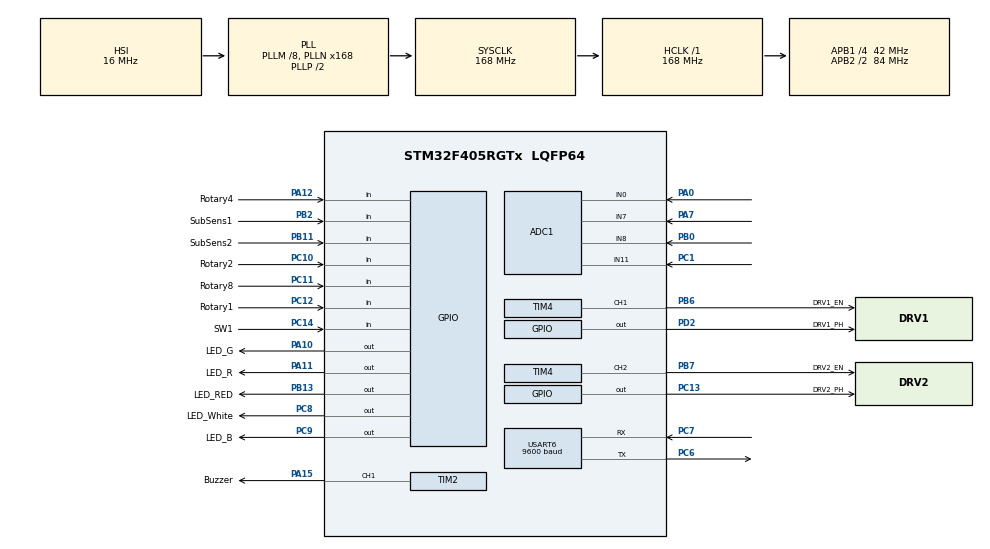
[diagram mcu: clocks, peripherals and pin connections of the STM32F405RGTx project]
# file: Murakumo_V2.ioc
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ADC1.Channel-17\#ChannelRegularConversion=ADC_CHANNEL_0
ADC1.Channel-18\#ChannelRegularConversion=ADC_CHANNEL_7
ADC1.Channel-19\#ChannelRegularConversion=ADC_CHANNEL_8
ADC1.Channel-20\#ChannelRegularConversion=ADC_CHANNEL_11
ADC1.ContinuousConvMode=ENABLE
ADC1.DMAContinuousRequests=ENABLE
ADC1.EnableAnalogWatchDog=false
ADC1.InjNumberOfConversion=0
ADC1.NbrOfConversion=4
ADC1.NbrOfConversionFlag=1
ADC1.Rank-17\#ChannelRegularConversion=1
ADC1.Rank-18\#ChannelRegularConversion=2
ADC1.Rank-19\#ChannelRegularConversion=3
ADC1.Rank-20\#ChannelRegularConversion=4
ADC1.SamplingTime-17\#ChannelRegularConversion=ADC_SAMPLETIME_3CYCLES
ADC1.SamplingTime-18\#ChannelRegularConversion=ADC_SAMPLETIME_3CYCLES
ADC1.SamplingTime-19\#ChannelRegularConversion=ADC_SAMPLETIME_3CYCLES
ADC1.SamplingTime-20\#ChannelRegularConversion=ADC_SAMPLETIME_3CYCLES
ADC1.master=1
Dma.ADC1.0.Direction=DMA_PERIPH_TO_MEMORY
Dma.ADC1.0.FIFOMode=DMA_FIFOMODE_DISABLE
Dma.ADC1.0.Instance=DMA2_Stream0
Dma.ADC1.0.MemDataAlignment=DMA_MDATAALIGN_HALFWORD
Dma.ADC1.0.MemInc=DMA_MINC_ENABLE
Dma.ADC1.0.Mode=DMA_CIRCULAR
Dma.ADC1.0.PeriphDataAlignment=DMA_PDATAALIGN_HALFWORD
Dma.ADC1.0.PeriphInc=DMA_PINC_DISABLE
Dma.ADC1.0.Priority=DMA_PRIORITY_LOW
Dma.Request0=ADC1
Mcu.Family=STM32F4
Mcu.Name=STM32F405RGTx
Mcu.Package=LQFP64
NVIC.DMA2_Stream0_IRQn=true\:0\:0\:false\:false\:true\:false\:true
NVIC.PriorityGroup=NVIC_PRIORITYGROUP_4
NVIC.TIM6_DAC_IRQn=true\:0\:0\:false\:false\:true\:true\:true
NVIC.TIM7_IRQn=true\:0\:0\:false\:false\:true\:true\:true
PA0-WKUP.Signal=ADCx_IN0
PA10.GPIO_Label=LED_G
PA10.Signal=GPIO_Output
PA11.GPIO_Label=LED_R
PA11.Signal=GPIO_Output
PA12.GPIO_Label=Rotary4
PA12.Signal=GPIO_Input
PA13.Mode=Trace_Asynchronous_SW
PA13.Signal=SYS_JTMS-SWDIO
PA14.Mode=Trace_Asynchronous_SW
PA14.Signal=SYS_JTCK-SWCLK
PA15.GPIO_Label=Buzzer
PA15.Signal=S_TIM2_CH1_ETR
PA7.Signal=ADCx_IN7
PB0.Signal=ADCx_IN8
PB11.GPIO_Label=SubSens2
PB11.Signal=GPIO_Input
PB13.GPIO_Label=LED_RED
PB13.Signal=GPIO_Output
PB2.GPIO_Label=SubSens1
PB2.Signal=GPIO_Input
PB3.Mode=Trace_Asynchronous_SW
PB3.Signal=SYS_JTDO-SWO
PB6.GPIO_Label=DRV1_EN
PB6.Signal=S_TIM4_CH1
PB7.GPIO_Label=DRV2_EN
PB7.Signal=S_TIM4_CH2
PC1.Signal=ADCx_IN11
PC10.GPIO_Label=Rotary2
PC10.Signal=GPIO_Input
PC11.GPIO_Label=Rotary8
PC11.Signal=GPIO_Input
PC12.GPIO_Label=Rotary1
PC12.Signal=GPIO_Input
PC13-ANTI_TAMP.GPIO_Label=DRV2_PH
PC13-ANTI_TAMP.Signal=GPIO_Output
PC14-OSC32_IN.GPIO_Label=SW1
PC14-OSC32_IN.Signal=GPIO_Input
PC6.Mode=Asynchronous
PC6.Signal=USART6_TX
PC7.Mode=Asynchronous
PC7.Signal=USART6_RX
PC8.GPIO_Label=LED_White
PC8.Signal=GPIO_Output
PC9.GPIO_Label=LED_B
PC9.Signal=GPIO_Output
PD2.GPIO_Label=DRV1_PH
PD2.Signal=GPIO_Output
ProjectManager.HeapSize=0x200
ProjectManager.StackSize=0x400
ProjectManager.TargetToolchain=STM32CubeIDE
RCC.48MHZClocksFreq_Value=84000000
RCC.AHBFreq_Value=168000000
RCC.APB1CLKDivider=RCC_HCLK_DIV4
RCC.APB1Freq_Value=42000000
RCC.APB1TimFreq_Value=84000000
RCC.APB2CLKDivider=RCC_HCLK_DIV2
RCC.APB2Freq_Value=84000000
RCC.APB2TimFreq_Value=168000000
RCC.CortexFreq_Value=168000000
RCC.HCLKFreq_Value=168000000
RCC.HSE_VALUE=16000000
RCC.HSI_VALUE=16000000
RCC.LSE_VALUE=32768
RCC.PLLM=8
RCC.PLLN=168
RCC.SYSCLKFreq_VALUE=168000000
RCC.SYSCLKSource=RCC_SYSCLKSOURCE_PLLCLK
RCC.VCOOutputFreq_Value=336000000
SH.ADCx_IN0.0=ADC1_IN0,IN0
SH.ADCx_IN11.0=ADC1_IN11,IN11
SH.ADCx_IN7.0=ADC1_IN7,IN7
SH.ADCx_IN8.0=ADC1_IN8,IN8
SH.S_TIM2_CH1_ETR.0=TIM2_CH1,PWM Generation1 CH1
SH.S_TIM4_CH1.0=TIM4_CH1,PWM Generation1 CH1
SH.S_TIM4_CH2.0=TIM4_CH2,PWM Generation2 CH2
TIM2.Channel-PWM\ Generation1\ CH1=TIM_CHANNEL_1
TIM2.Period=1679
TIM2.Prescaler=1
TIM4.Channel-PWM\ Generation1\ CH1=TIM_CHANNEL_1
TIM4.Channel-PWM\ Generation2\ CH2=TIM_CHANNEL_2
TIM4.Period=839
TIM4.Prescaler=1
TIM6.Period=8399
TIM6.Prescaler=1
TIM7.Period=8399
TIM7.Prescaler=1
USART6.BaudRate=9600
USART6.VirtualMode=VM_ASYNC
VP_TIM6_VS_ClockSourceINT.Mode=Enable_Timer
VP_TIM7_VS_ClockSourceINT.Mode=Enable_Timer
board=custom

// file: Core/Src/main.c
/* USER CODE BEGIN Header */
/**
  ******************************************************************************
  * @file           : main.c
  * @brief          : Main program body
  ******************************************************************************
  * @attention
  *
  * Copyright (c) 2022 STMicroelectronics.
  * All rights reserved.
  *
  * This software is licensed under terms that can be found in the LICENSE file
  * in the root directory of this software component.
  * If no LICENSE file comes with this software, it is provided AS-IS.
  *
  ******************************************************************************
  */
/* USER CODE END Header */
#include "main.h"

/* USER CODE BEGIN Includes */
#include "stdio.h"

/* USER CODE END Includes */

/* USER CODE BEGIN PD */

/* Debug Define */
#ifdef __GNUC__
#define PUTCHAR_PROTOTYPE int __io_putchar(int ch)
#else
#define PUTCHAR_PROTOTYPE int fputc(int ch, FILE *f)
#endif

/* USER CODE END PD */

/* USER CODE BEGIN PM */
#define ADC_CONVERTED_DATA_BUFFER_SIZE 1	// ADC Channel Count
/* USER CODE END PM */

ADC_HandleTypeDef hadc1;
DMA_HandleTypeDef hdma_adc1;

TIM_HandleTypeDef htim2;
TIM_HandleTypeDef htim4;
TIM_HandleTypeDef htim6;
TIM_HandleTypeDef htim7;

UART_HandleTypeDef huart6;

/* USER CODE BEGIN PV */
uint16_t analog[ADC_CONVERTED_DATA_BUFFER_SIZE] = {0};	// Analog Data

/* USER CODE END PV */

void SystemClock_Config(void);
static void MX_GPIO_Init(void);
static void MX_TIM4_Init(void);
static void MX_TIM2_Init(void);
static void MX_ADC1_Init(void);
static void MX_USART6_UART_Init(void);
static void MX_TIM6_Init(void);
static void MX_DMA_Init(void);
static void MX_TIM7_Init(void);
/* USER CODE BEGIN PFP */
PUTCHAR_PROTOTYPE
{
	HAL_UART_Transmit(&huart6, (uint8_t*) &ch, 1, 0xFFFF);
	return ch;
}

/* USER CODE END PFP */

int main(void)
{

  /* MCU Configuration--------------------------------------------------------*/

  /* Reset of all peripherals, Initializes the Flash interface and the Systick. */
  HAL_Init();

  /* Configure the system clock */
  SystemClock_Config();

  /* Initialize all configured peripherals */
  MX_GPIO_Init();
  MX_TIM4_Init();
  MX_TIM2_Init();
  MX_ADC1_Init();
  MX_USART6_UART_Init();
  MX_TIM6_Init();
  MX_DMA_Init();
  MX_TIM7_Init();
  /* USER CODE BEGIN 2 */
	printf("\r\n\r\n\r\nStarting Program...\r\n\r\n");

	printf("Push Switch ...\r\n");
	while(HAL_GPIO_ReadPin(GPIOC, GPIO_PIN_14))
	{
	  HAL_Delay(100);
	}

  printf("Starting Analog Read\r\n");
//  if(HAL_ADC_Init(&hadc1) != HAL_OK) { Error_Handler(); }
//  if(HAL_ADCE1_Calibration_Start(&hadc1, ADC_SINGLE_ENDED) != HAL_OK) { Error_Handler(); }
//  if(HAL_ADC_ConfigChannel(&hadc1, &sConfig) != HAL_OK) { Error_Handler(); }

	printf("Starting Analog DMA\r\n");
	HAL_Delay(100);
	if(HAL_ADC_Start_DMA(&hadc1, (uint32_t *) analog, 1) != HAL_OK) { Error_Handler(); }
	HAL_Delay(100);
  /* USER CODE END 2 */

  /* Infinite loop */
  /* USER CODE BEGIN WHILE */
  while (1)
  {
	  for(int channel = 0; channel < ADC_CONVERTED_DATA_BUFFER_SIZE; channel++)
	  {
		  printf("ADC CH%2d Value is %d\r\n", channel, analog[channel]);
	  }

	  HAL_Delay(500);
    /* USER CODE END WHILE */

  }
}

void SystemClock_Config(void)
{
  RCC_OscInitTypeDef RCC_OscInitStruct = {0};
  RCC_ClkInitTypeDef RCC_ClkInitStruct = {0};

  /** Configure the main internal regulator output voltage
  */
  __HAL_RCC_PWR_CLK_ENABLE();
  __HAL_PWR_VOLTAGESCALING_CONFIG(PWR_REGULATOR_VOLTAGE_SCALE1);
  /** Initializes the RCC Oscillators according to the specified parameters
  * in the RCC_OscInitTypeDef structure.
  */
  RCC_OscInitStruct.OscillatorType = RCC_OSCILLATORTYPE_HSI;
  RCC_OscInitStruct.HSIState = RCC_HSI_ON;
  RCC_OscInitStruct.HSICalibrationValue = RCC_HSICALIBRATION_DEFAULT;
  RCC_OscInitStruct.PLL.PLLState = RCC_PLL_ON;
  RCC_OscInitStruct.PLL.PLLSource = RCC_PLLSOURCE_HSI;
  RCC_OscInitStruct.PLL.PLLM = 8;
  RCC_OscInitStruct.PLL.PLLN = 168;
  RCC_OscInitStruct.PLL.PLLP = RCC_PLLP_DIV2;
  RCC_OscInitStruct.PLL.PLLQ = 4;
  if (HAL_RCC_OscConfig(&RCC_OscInitStruct) != HAL_OK)
  {
    Error_Handler();
  }
  /** Initializes the CPU, AHB and APB buses clocks
  */
  RCC_ClkInitStruct.ClockType = RCC_CLOCKTYPE_HCLK|RCC_CLOCKTYPE_SYSCLK
                              |RCC_CLOCKTYPE_PCLK1|RCC_CLOCKTYPE_PCLK2;
  RCC_ClkInitStruct.SYSCLKSource = RCC_SYSCLKSOURCE_PLLCLK;
  RCC_ClkInitStruct.AHBCLKDivider = RCC_SYSCLK_DIV1;
  RCC_ClkInitStruct.APB1CLKDivider = RCC_HCLK_DIV4;
  RCC_ClkInitStruct.APB2CLKDivider = RCC_HCLK_DIV2;

  if (HAL_RCC_ClockConfig(&RCC_ClkInitStruct, FLASH_LATENCY_5) != HAL_OK)
  {
    Error_Handler();
  }
}

static void MX_ADC1_Init(void)
{

  ADC_ChannelConfTypeDef sConfig = {0};

  /** Configure the global features of the ADC (Clock, Resolution, Data Alignment and number of conversion)
  */
  hadc1.Instance = ADC1;
  hadc1.Init.ClockPrescaler = ADC_CLOCK_SYNC_PCLK_DIV4;
  hadc1.Init.Resolution = ADC_RESOLUTION_12B;
  hadc1.Init.ScanConvMode = ENABLE;
  hadc1.Init.ContinuousConvMode = ENABLE;
  hadc1.Init.DiscontinuousConvMode = DISABLE;
  hadc1.Init.ExternalTrigConvEdge = ADC_EXTERNALTRIGCONVEDGE_NONE;
  hadc1.Init.ExternalTrigConv = ADC_SOFTWARE_START;
  hadc1.Init.DataAlign = ADC_DATAALIGN_RIGHT;
  hadc1.Init.NbrOfConversion = 1;
  hadc1.Init.DMAContinuousRequests = ENABLE;
  hadc1.Init.EOCSelection = ADC_EOC_SINGLE_CONV;
  if (HAL_ADC_Init(&hadc1) != HAL_OK)
  {
    Error_Handler();
  }
  /** Configure for the selected ADC regular channel its corresponding rank in the sequencer and its sample time.
  */
  sConfig.Channel = ADC_CHANNEL_0;
  sConfig.Rank = 1;
  sConfig.SamplingTime = ADC_SAMPLETIME_480CYCLES;
  if (HAL_ADC_ConfigChannel(&hadc1, &sConfig) != HAL_OK)
  {
    Error_Handler();
  }

}

static void MX_TIM2_Init(void)
{

  TIM_MasterConfigTypeDef sMasterConfig = {0};
  TIM_OC_InitTypeDef sConfigOC = {0};

  htim2.Instance = TIM2;
  htim2.Init.Prescaler = 1;
  htim2.Init.CounterMode = TIM_COUNTERMODE_UP;
  htim2.Init.Period = 1679;
  htim2.Init.ClockDivision = TIM_CLOCKDIVISION_DIV1;
  htim2.Init.AutoReloadPreload = TIM_AUTORELOAD_PRELOAD_DISABLE;
  if (HAL_TIM_PWM_Init(&htim2) != HAL_OK)
  {
    Error_Handler();
  }
  sMasterConfig.MasterOutputTrigger = TIM_TRGO_RESET;
  sMasterConfig.MasterSlaveMode = TIM_MASTERSLAVEMODE_DISABLE;
  if (HAL_TIMEx_MasterConfigSynchronization(&htim2, &sMasterConfig) != HAL_OK)
  {
    Error_Handler();
  }
  sConfigOC.OCMode = TIM_OCMODE_PWM1;
  sConfigOC.Pulse = 0;
  sConfigOC.OCPolarity = TIM_OCPOLARITY_HIGH;
  sConfigOC.OCFastMode = TIM_OCFAST_DISABLE;
  if (HAL_TIM_PWM_ConfigChannel(&htim2, &sConfigOC, TIM_CHANNEL_1) != HAL_OK)
  {
    Error_Handler();
  }
  HAL_TIM_MspPostInit(&htim2);

}

static void MX_TIM4_Init(void)
{

  TIM_MasterConfigTypeDef sMasterConfig = {0};
  TIM_OC_InitTypeDef sConfigOC = {0};

  htim4.Instance = TIM4;
  htim4.Init.Prescaler = 1;
  htim4.Init.CounterMode = TIM_COUNTERMODE_UP;
  htim4.Init.Period = 839;
  htim4.Init.ClockDivision = TIM_CLOCKDIVISION_DIV1;
  htim4.Init.AutoReloadPreload = TIM_AUTORELOAD_PRELOAD_DISABLE;
  if (HAL_TIM_PWM_Init(&htim4) != HAL_OK)
  {
    Error_Handler();
  }
  sMasterConfig.MasterOutputTrigger = TIM_TRGO_RESET;
  sMasterConfig.MasterSlaveMode = TIM_MASTERSLAVEMODE_DISABLE;
  if (HAL_TIMEx_MasterConfigSynchronization(&htim4, &sMasterConfig) != HAL_OK)
  {
    Error_Handler();
  }
  sConfigOC.OCMode = TIM_OCMODE_PWM1;
  sConfigOC.Pulse = 0;
  sConfigOC.OCPolarity = TIM_OCPOLARITY_HIGH;
  sConfigOC.OCFastMode = TIM_OCFAST_DISABLE;
  if (HAL_TIM_PWM_ConfigChannel(&htim4, &sConfigOC, TIM_CHANNEL_1) != HAL_OK)
  {
    Error_Handler();
  }
  if (HAL_TIM_PWM_ConfigChannel(&htim4, &sConfigOC, TIM_CHANNEL_2) != HAL_OK)
  {
    Error_Handler();
  }
  HAL_TIM_MspPostInit(&htim4);

}

static void MX_TIM6_Init(void)
{

  TIM_MasterConfigTypeDef sMasterConfig = {0};

  htim6.Instance = TIM6;
  htim6.Init.Prescaler = 1;
  htim6.Init.CounterMode = TIM_COUNTERMODE_UP;
  htim6.Init.Period = 8399;
  htim6.Init.AutoReloadPreload = TIM_AUTORELOAD_PRELOAD_DISABLE;
  if (HAL_TIM_Base_Init(&htim6) != HAL_OK)
  {
    Error_Handler();
  }
  sMasterConfig.MasterOutputTrigger = TIM_TRGO_RESET;
  sMasterConfig.MasterSlaveMode = TIM_MASTERSLAVEMODE_DISABLE;
  if (HAL_TIMEx_MasterConfigSynchronization(&htim6, &sMasterConfig) != HAL_OK)
  {
    Error_Handler();
  }

}

static void MX_TIM7_Init(void)
{

  TIM_MasterConfigTypeDef sMasterConfig = {0};

  htim7.Instance = TIM7;
  htim7.Init.Prescaler = 1;
  htim7.Init.CounterMode = TIM_COUNTERMODE_UP;
  htim7.Init.Period = 8399;
  htim7.Init.AutoReloadPreload = TIM_AUTORELOAD_PRELOAD_DISABLE;
  if (HAL_TIM_Base_Init(&htim7) != HAL_OK)
  {
    Error_Handler();
  }
  sMasterConfig.MasterOutputTrigger = TIM_TRGO_RESET;
  sMasterConfig.MasterSlaveMode = TIM_MASTERSLAVEMODE_DISABLE;
  if (HAL_TIMEx_MasterConfigSynchronization(&htim7, &sMasterConfig) != HAL_OK)
  {
    Error_Handler();
  }

}

static void MX_USART6_UART_Init(void)
{

  huart6.Instance = USART6;
  huart6.Init.BaudRate = 9600;
  huart6.Init.WordLength = UART_WORDLENGTH_8B;
  huart6.Init.StopBits = UART_STOPBITS_1;
  huart6.Init.Parity = UART_PARITY_NONE;
  huart6.Init.Mode = UART_MODE_TX_RX;
  huart6.Init.HwFlowCtl = UART_HWCONTROL_NONE;
  huart6.Init.OverSampling = UART_OVERSAMPLING_16;
  if (HAL_UART_Init(&huart6) != HAL_OK)
  {
    Error_Handler();
  }

}

static void MX_DMA_Init(void)
{

  /* DMA controller clock enable */
  __HAL_RCC_DMA2_CLK_ENABLE();

  /* DMA interrupt init */
  /* DMA2_Stream0_IRQn interrupt configuration */
  HAL_NVIC_SetPriority(DMA2_Stream0_IRQn, 0, 0);
  HAL_NVIC_EnableIRQ(DMA2_Stream0_IRQn);

}

static void MX_GPIO_Init(void)
{
  GPIO_InitTypeDef GPIO_InitStruct = {0};

  /* GPIO Ports Clock Enable */
  __HAL_RCC_GPIOC_CLK_ENABLE();
  __HAL_RCC_GPIOA_CLK_ENABLE();
  __HAL_RCC_GPIOB_CLK_ENABLE();
  __HAL_RCC_GPIOD_CLK_ENABLE();

  /*Configure GPIO pin Output Level */
  HAL_GPIO_WritePin(GPIOC, DRV2_PH_Pin|LED_White_Pin|LED_B_Pin, GPIO_PIN_RESET);

  /*Configure GPIO pin Output Level */
  HAL_GPIO_WritePin(LED_RED_GPIO_Port, LED_RED_Pin, GPIO_PIN_RESET);

  /*Configure GPIO pin Output Level */
  HAL_GPIO_WritePin(GPIOA, LED_G_Pin|LED_R_Pin, GPIO_PIN_RESET);

  /*Configure GPIO pin Output Level */
  HAL_GPIO_WritePin(DRV1_PH_GPIO_Port, DRV1_PH_Pin, GPIO_PIN_RESET);

  /*Configure GPIO pins : DRV2_PH_Pin LED_White_Pin LED_B_Pin */
  GPIO_InitStruct.Pin = DRV2_PH_Pin|LED_White_Pin|LED_B_Pin;
  GPIO_InitStruct.Mode = GPIO_MODE_OUTPUT_PP;
  GPIO_InitStruct.Pull = GPIO_NOPULL;
  GPIO_InitStruct.Speed = GPIO_SPEED_FREQ_LOW;
  HAL_GPIO_Init(GPIOC, &GPIO_InitStruct);

  /*Configure GPIO pins : SW1_Pin Rotary2_Pin Rotary8_Pin Rotary1_Pin */
  GPIO_InitStruct.Pin = SW1_Pin|Rotary2_Pin|Rotary8_Pin|Rotary1_Pin;
  GPIO_InitStruct.Mode = GPIO_MODE_INPUT;
  GPIO_InitStruct.Pull = GPIO_NOPULL;
  HAL_GPIO_Init(GPIOC, &GPIO_InitStruct);

  /*Configure GPIO pins : SubSens1_Pin SubSens2_Pin */
  GPIO_InitStruct.Pin = SubSens1_Pin|SubSens2_Pin;
  GPIO_InitStruct.Mode = GPIO_MODE_INPUT;
  GPIO_InitStruct.Pull = GPIO_NOPULL;
  HAL_GPIO_Init(GPIOB, &GPIO_InitStruct);

  /*Configure GPIO pin : LED_RED_Pin */
  GPIO_InitStruct.Pin = LED_RED_Pin;
  GPIO_InitStruct.Mode = GPIO_MODE_OUTPUT_PP;
  GPIO_InitStruct.Pull = GPIO_NOPULL;
  GPIO_InitStruct.Speed = GPIO_SPEED_FREQ_LOW;
  HAL_GPIO_Init(LED_RED_GPIO_Port, &GPIO_InitStruct);

  /*Configure GPIO pins : LED_G_Pin LED_R_Pin */
  GPIO_InitStruct.Pin = LED_G_Pin|LED_R_Pin;
  GPIO_InitStruct.Mode = GPIO_MODE_OUTPUT_PP;
  GPIO_InitStruct.Pull = GPIO_NOPULL;
  GPIO_InitStruct.Speed = GPIO_SPEED_FREQ_LOW;
  HAL_GPIO_Init(GPIOA, &GPIO_InitStruct);

  /*Configure GPIO pin : Rotary4_Pin */
  GPIO_InitStruct.Pin = Rotary4_Pin;
  GPIO_InitStruct.Mode = GPIO_MODE_INPUT;
  GPIO_InitStruct.Pull = GPIO_NOPULL;
  HAL_GPIO_Init(Rotary4_GPIO_Port, &GPIO_InitStruct);

  /*Configure GPIO pin : DRV1_PH_Pin */
  GPIO_InitStruct.Pin = DRV1_PH_Pin;
  GPIO_InitStruct.Mode = GPIO_MODE_OUTPUT_PP;
  GPIO_InitStruct.Pull = GPIO_NOPULL;
  GPIO_InitStruct.Speed = GPIO_SPEED_FREQ_LOW;
  HAL_GPIO_Init(DRV1_PH_GPIO_Port, &GPIO_InitStruct);

}

/* USER CODE BEGIN 4 */
void HAL_ADC_ConvCpltCallback(ADC_HandleTypeDef* AdcHandle)
{
	// ADC END Program
}

/* USER CODE END 4 */

void Error_Handler(void)
{
  __disable_irq();
  while (1)
  {
  }
}
